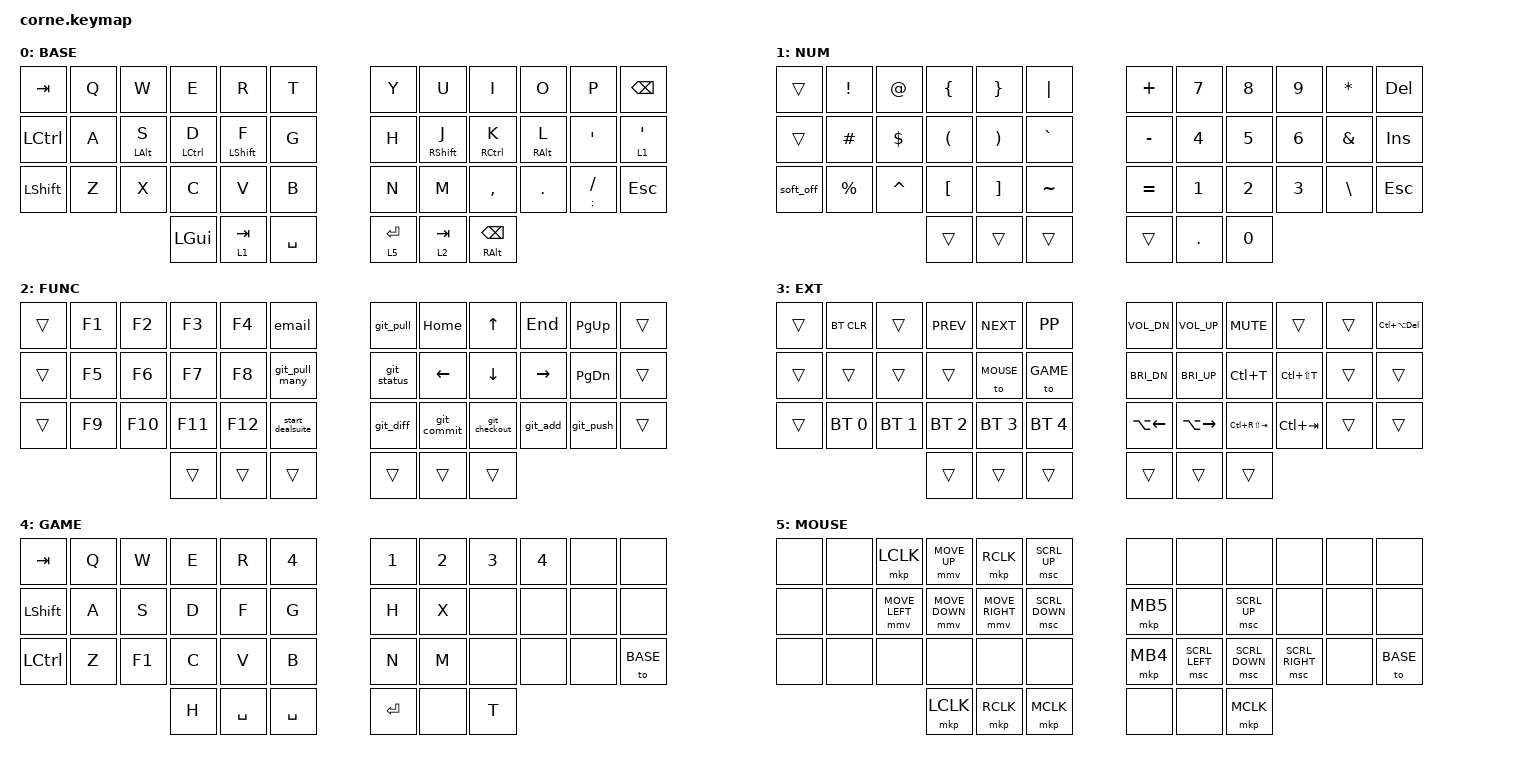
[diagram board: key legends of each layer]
/*
 * Copyright (c) 2020 The ZMK Contributors
 *
 * SPDX-License-Identifier: MIT
 */

#include <behaviors.dtsi>
#include <dt-bindings/zmk/bt.h>
#include <dt-bindings/zmk/keys.h>

#define ZMK_POINTING_DEFAULT_MOVE_VAL 1500  // default: 600
#define ZMK_POINTING_DEFAULT_SCRL_VAL 20    // default: 10

#include <dt-bindings/zmk/pointing.h>

#define BASE  0
#define NUM   1
#define FUNC  2
#define EXT   3
#define GAME  4
#define MOUSE 5

&soft_off {
    hold-time-ms = <2000>; // Only turn off it the key is held for 2 seconds or longer.
};

/ {
    behaviors {
        hm: homerow_mods {
            compatible = "zmk,behavior-hold-tap";
            bindings = <&kp>, <&kp>;

            #binding-cells = <2>;
            tapping-term-ms = <200>;
            flavor = "tap-preferred";
            require-prior-idle-ms = <125>;
            quick-tap-ms = <200>;
        };
    };

    combos {
        compatible = "zmk,combos";

        Clear_BLE_Profile {
            bindings = <&bt BT_CLR>;
            key-positions = <0 38 5>;
        };

        space {
            bindings = <&kp SPACE>;
            key-positions = <18 19>;
        };

        enter {
            bindings = <&kp ENTER>;
            key-positions = <17 16>;
        };

        return {
            bindings = <&kp RET>;
            key-positions = <21 22>;
        };

        caps {
            bindings = <&kp CAPS>;
            key-positions = <12 13>;
        };

        escape {
            bindings = <&kp ESC>;
            key-positions = <1 2>;
        };

        underline {
            bindings = <&kp UNDER>;
            key-positions = <8 7>;
        };

        dash {
            bindings = <&kp MINUS>;
            key-positions = <7 6>;
        };

        backslsh {
            bindings = <&kp BSLH>;
            key-positions = <33 34>;
        };

        reload {
            bindings = <&kp LC(R)>;
            key-positions = <4 5>;
        };

        undo {
            bindings = <&kp LC(Z)>;
            key-positions = <26 25>;
        };

        cut {
            bindings = <&kp LC(X)>;
            key-positions = <26 27>;
        };

        copy {
            bindings = <&kp LC(C)>;
            key-positions = <27 28>;
        };

        paste {
            bindings = <&kp LC(V)>;
            key-positions = <28 29>;
        };

        redo {
            bindings = <&kp LC(Y)>;
            key-positions = <24 25>;
        };

        select_all {
            bindings = <&kp LC(A)>;
            key-positions = <13 14>;
        };

        save {
            bindings = <&kp LC(S)>;
            key-positions = <14 15>;
        };

        all_caps {
            bindings = <&kp CAPS>;
            key-positions = <16 19>;
        };

        backspace {
            bindings = <&kp BACKSPACE>;
            key-positions = <9 10>;
        };
    };

    macros {
        email: email {
            compatible = "zmk,behavior-macro";
            #binding-cells = <0>;
            bindings = <&none &kp B &kp R &kp Y &kp A &kp N &kp AT &kp P &kp E &kp C &kp J &kp O &kp DOT &kp C &kp O &kp M>;
            wait-ms = <0>; 
        };

        git_status: git_status {
            compatible = "zmk,behavior-macro";
            #binding-cells = <0>;
            bindings = <&kp G &kp I &kp T &kp SPACE &kp S &kp T &kp A &kp T &kp U &kp S>;
            wait-ms = <0>; 
        };

        git_pull: git_pull {
            compatible = "zmk,behavior-macro";
            #binding-cells = <0>;
            bindings = <&kp G &kp I &kp T &kp SPACE &kp P &kp U &kp L &kp L>;
            wait-ms = <0>; 
        };

        git_pull_many: git_pull_many {
            compatible = "zmk,behavior-macro";
            #binding-cells = <0>;
            bindings = <
                &kp LC(R) &kp G &kp I &kp T &kp SPACE
                &kp MINUS &kp LEFT_SHIFT &kp C
                &kp SPACE &kp LBRC &kp RBRC &kp SPACE
                &kp P &kp U &kp L &kp L &kp SQT
            >;
            wait-ms = <0>; 
        };

        git_push: git_push {
            compatible = "zmk,behavior-macro";
            #binding-cells = <0>;
            bindings = <&kp G &kp I &kp T &kp SPACE &kp P &kp U &kp S &kp H>;
            wait-ms = <0>; 
        };

        git_add: git_add {
            compatible = "zmk,behavior-macro";
            #binding-cells = <0>;
            bindings = <&kp G &kp I &kp T &kp SPACE &kp A &kp D &kp D &kp SPACE &kp DOT>;
            wait-ms = <0>; 
        };

        git_diff: git_diff {
            compatible = "zmk,behavior-macro";
            #binding-cells = <0>;
            bindings = <&kp G &kp I &kp T &kp SPACE &kp D &kp I &kp F &kp F>;
            wait-ms = <0>; 
        };

        git_checkout: git_checkout {
            compatible = "zmk,behavior-macro";
            #binding-cells = <0>;
            bindings = <&kp G &kp I &kp T &kp SPACE &kp C &kp H &kp E &kp C &kp K &kp O &kp U &kp T &kp SPACE>;
            wait-ms = <0>; 
        };

        git_commit: git_commit {
            compatible = "zmk,behavior-macro";
            #binding-cells = <0>;
            bindings = <
                &kp G &kp I &kp T &kp SPACE &kp C &kp O &kp M &kp M &kp I &kp T &kp SPACE 
                &kp MINUS &kp M &kp SPACE &kp DOUBLE_QUOTES &kp DOUBLE_QUOTES &kp LEFT
            >;
            wait-ms = <0>; 
        };

        start_dealsuite: start_dealsuite {
            compatible = "zmk,behavior-macro";
            #binding-cells = <0>;
            bindings = <
                // CTRL+R, 'cele', Return, press 1, Return
                &kp LC(R)
                &macro_wait_time 50
                &kp C &kp E &kp L &kp E 
                &macro_wait_time 1000 
                &kp RET &kp N1 &kp RET

                // New Tab, CTRL+R, 'run d', Return
                &macro_wait_time 2000
                &kp LC(LS(N5))
                &kp LC(R)
                &macro_wait_time 50
                &kp R &kp U &kp N &kp SPACE &kp D &kp RET

                // New Tab, CTRL+R, type 'app.p', Return
                &macro_wait_time 2000
                &kp LC(LS(N5))
                &kp LC(R)
                &macro_wait_time 50
                &kp A &kp P &kp P &kp DOT &kp P &kp RET

                // New Tab, CTRL+R, 'runse', Return
                &macro_wait_time 2000
                &kp LC(LS(N5))
                &kp LC(R)
                &macro_wait_time 50
                &kp R &kp U &kp N &kp S &kp E &kp RET
            >;
        };
    };

    keymap {
        compatible = "zmk,keymap";

        base_layer {
            label = "BASE";
            //╭──────────┬──────────┬──────────┬──────────┬──────────┬──────────╮   ╭──────────┬──────────┬──────────┬──────────┬──────────┬──────────╮
            //│  TAB     |     Q  [esc]  W     │     E    │    R [reload]  T    │   │   Y    [ - ]  U   [ _ ]  I     │   O      │    P     │ BSPC     │
            //├──────────┼──────────┼──────────┼──────────┼──────────┼──────────┤   ├──────────┼──────────┼──────────┼──────────┼──────────┼──────────┤
            //│  CTRL  [CAPS]  A  [all]  S   [save]  D    │    F   [ ↵ ]   G    │   │   H   [space]  J    │    K     │   L    [ ↵ ]  ; :   │ LWR/'    │
            //├──────────┼──────────┼──────────┼──────────┼──────────┼──────────┤   ├──────────┼──────────┼──────────┼──────────┼──────────┼──────────┤
            //│  SHIFT [redo]  Z [undo]  X   [cut]   C  [copy] V  [paste]  B    │   │   N      │    M     │   , <    │  . >   [ \ ]  / ?   │ ESC      │
            //╰──────────┴──────────┴──────────┼──────────┼──────────┼──────────┤   ├──────────┼──────────┼──────────┼──────────┴──────────┴──────────╯
            //                                 │    ⊞     │  🔽/↹  │  SPACE   │   │  🖯/⏎    │   🔼/↹  │  ALT/⌫  │
            //                                 ╰──────────┴──────────┴──────────╯   ╰──────────┴──────────┴──────────╯
            bindings = <
&kp TAB   &kp Q &kp W      &kp E       &kp R       &kp T          &kp Y     &kp U       &kp I        &kp O      &kp P         &kp BSPC
&kp LCTRL &kp A &hm LALT S &hm LCTRL D &hm LSHFT F &kp G          &kp H     &hm RSHFT J &hm RCTRL K  &hm RALT L &kp SQT       &lt 1 SQT
&kp LSHFT &kp Z &kp X      &kp C       &kp V       &kp B          &kp N     &kp M       &kp COMMA    &kp DOT    &hm SEMI FSLH &kp ESC
                           &kp LGUI    &lt 1 TAB   &kp SPACE      &lt 5 RET &lt 2 TAB   &hm RALT BSPC
            >;
        };

        num_layer {
            label = "NUM";
            //╭──────────┬──────────┬──────────┬──────────┬──────────┬──────────╮   ╭──────────┬──────────┬──────────┬──────────┬──────────┬──────────╮
            //|  TAB     |  !       |  @       |  {       |  }       | "|"      |   |  +       |  7       |  8       |  9       |  *       |  Del     |
            //├──────────┼──────────┼──────────┼──────────┼──────────┼──────────┤   ├──────────┼──────────┼──────────┼──────────┼──────────┼──────────┤
            //|  SHIFT   |  #       |  $       |  (       |  )       |  `       |   |  -       |  4       |  5       |  6       |  &       |  Ins     |
            //├──────────┼──────────┼──────────┼──────────┼──────────┼──────────┤   ├──────────┼──────────┼──────────┼──────────┼──────────┼──────────┤
            //|    ⏻    |  %       |  ^       |  [       |  ]       |  ~       |   |  =       |  1       |  2       |  3       |  \       |  ESC     |
            //╰──────────┴──────────┴──────────┼──────────┼──────────┼──────────┤   ├──────────┼──────────┼──────────┼──────────┴──────────┴──────────╯
            //                                 |          |    🔴    |          │   │          │  .       |  0       |
            //                                 ╰──────────┴──────────┴──────────╯   ╰──────────┴──────────┴──────────╯
            bindings = <
&trans    &kp EXCL    &kp AT     &kp LBRC &kp RBRC &kp PIPE      &kp PLUS  &kp N7   &kp N8  &kp N9  &kp STAR  &kp DEL
&trans    &kp HASH    &kp DOLLAR &kp LPAR &kp RPAR &kp GRAVE     &kp MINUS &kp N4   &kp N5  &kp N6  &kp AMPS  &kp INS
&soft_off &kp PERCENT &kp CARET  &kp LBKT &kp RBKT &kp TILDE     &kp EQUAL &kp N1   &kp N2  &kp N3  &kp BSLH  &kp ESC
                                 &trans   &trans   &trans        &trans    &kp DOT  &kp N0
            >;
        };

        func_layer {
            label = "FUNC";
            //╭──────────┬──────────┬──────────┬──────────┬──────────┬──────────╮   ╭──────────┬──────────┬──────────┬──────────┬──────────┬──────────╮
            //|          |  F1      |  F2      |  F3      |  F4      | email    |   | g.pull   |  HOME    |  ▲       |  END     |  PG_UP   |          |
            //├──────────┼──────────┼──────────┼──────────┼──────────┼──────────┤   ├──────────┼──────────┼──────────┼──────────┼──────────┼──────────┤
            //|          |  F5      |  F6      |  F7      |  F8      | g.pull_m |   | g.status |   ◄      |  ▼       |  ►       |  PG_DN   |          |
            //├──────────┼──────────┼──────────┼──────────┼──────────┼──────────┤   ├──────────┼──────────┼──────────┼──────────┼──────────┼──────────┤
            //|          |  F9      |  F10     |  F11     |  F12     | dealsuit |   | g.diff   | g.commit | g.chkout |  g.add   |  g.push  |          |
            //╰──────────┴──────────┴──────────┼──────────┼──────────┼──────────┤   ├──────────┼──────────┼──────────┼──────────┴──────────┴──────────╯
            //                                 |          |          |          |   |          |   🔴     |          |
            //                                 ╰──────────┴──────────┴──────────╯   ╰──────────┴──────────┴──────────╯
            bindings = <
&trans  &kp F1  &kp F2   &kp F3   &kp F4   &email               &git_pull    &kp HOME     &kp UP         &kp END    &kp PG_UP      &trans
&trans  &kp F5  &kp F6   &kp F7   &kp F8   &git_pull_many       &git_status  &kp LEFT     &kp DOWN       &kp RIGHT  &kp PAGE_DOWN  &trans
&trans  &kp F9  &kp F10  &kp F11  &kp F12  &start_dealsuite     &git_diff    &git_commit  &git_checkout  &git_add   &git_push      &trans
                         &trans   &trans   &trans               &trans       &trans       &trans
            >;
        };

        extended_layer {
            label = "EXT";
            //╭──────────┬──────────┬──────────┬──────────┬──────────┬──────────╮   ╭──────────┬──────────┬──────────┬──────────┬──────────┬──────────╮
            //|          |   ᛒ🗙    |          |    ⏮    |    ⏭     |    ⏯     |   |   🔉    |    🔊    |   🔇     |          |          |    ⏻    |
            //├──────────┼──────────┼──────────┼──────────┼──────────┼──────────┤   ├──────────┼──────────┼──────────┼──────────┼──────────┼──────────┤
            //|          |          |          |          |    ⚪   |    🔵    |   |   🔅    |    🔆    |  ^ T     |  ^⇧ T    |          |          |
            //├──────────┼──────────┼──────────┼──────────┼──────────┼──────────┤   ├──────────┼──────────┼──────────┼──────────┼──────────┼──────────┤
            //|          |   ᛒ1     |   ᛒ2     |   ᛒ3     |   ᛒ4     |   ᛒ5     |   |  alt-◄   |  alt-►   |  ^ Tab   |  ^⇧ Tab  |          |          |
            //╰──────────┴──────────┴──────────┼──────────┼──────────┼──────────┤   ├──────────┼──────────┼──────────┼──────────┴──────────┴──────────╯
            //                                 |          |    🔴   |          |   |          |   ⭕     |          |
            //                                 ╰──────────┴──────────┴──────────╯   ╰──────────┴──────────┴──────────╯
            bindings = <
&trans &bt BT_CLR   &trans       &kp C_PREV   &kp C_NEXT   &kp K_PP            &kp C_VOL_DN &kp C_VOL_UP  &kp C_MUTE      &trans        &trans  &kp LC(LA(DEL))
&trans &trans       &trans       &trans       &to MOUSE    &to GAME            &kp C_BRI_DN &kp C_BRI_UP  &kp LC(T)       &kp LC(LS(T)) &trans  &trans
&trans &bt BT_SEL 0 &bt BT_SEL 1 &bt BT_SEL 2 &bt BT_SEL 3 &bt BT_SEL 4        &kp LA(LEFT) &kp LA(RIGHT) &kp LC(RS(TAB)) &kp LC(TAB)   &trans  &trans
                                 &trans       &trans       &trans              &trans       &trans        &trans
            >;
        };

        game_layer {
            label = "GAME";
            //╭──────────┬──────────┬──────────┬──────────┬──────────┬──────────╮   ╭──────────┬──────────┬──────────┬──────────┬──────────┬──────────╮
            //|  Inv     |  Tact.A  |  ▲       |  Hands   |  Reload  | Health   |   |  Gun 1   |  Gun 2   |  3       |  4       |          |          |
            //├──────────┼──────────┼──────────┼──────────┼──────────┼──────────┤   ├──────────┼──────────┼──────────┼──────────┼──────────┼──────────┤
            //|  Sprint  |  ◄       |  ▼       |  ►       |  Ping    | Grenade  |   |  H       |  X       |          |          |          |          |
            //├──────────┼──────────┼──────────┼──────────┼──────────┼──────────┤   ├──────────┼──────────┼──────────┼──────────┼──────────┼──────────┤
            //|  Crouch  |  Ulti.A  |  F1      |  Crouch  |  Melee   | FireMode |   | Look Gun |  Map     |          |          |          |    🟢    |
            //╰──────────┴──────────┴──────────┼──────────┼──────────┼──────────┤   ├──────────┼──────────┼──────────┼──────────┴──────────┴──────────╯
            //                                 |  Health  |  Jump    | Jump     │   │  ENTER   │          |  T       |
            //                                 ╰──────────┴──────────┴──────────╯   ╰──────────┴──────────┴──────────╯
            bindings = <
&kp TAB    &kp Q  &kp W   &kp E  &kp R      &kp N4       &kp N1   &kp N2  &kp N3  &kp N4  &none  &none
&kp LSHFT  &kp A  &kp S   &kp D  &kp F      &kp G        &kp H    &kp X   &none   &none   &none  &none
&kp LCTRL  &kp Z  &kp F1  &kp C  &kp V      &kp B        &kp N    &kp M   &none   &none   &none  &to BASE
                          &kp H  &kp SPACE  &kp SPACE    &kp RET  &none   &kp T
            >;
        };

        mouse_layer {
            label = "MOUSE";
            //╭──────────┬──────────┬──────────┬──────────┬──────────┬──────────╮   ╭──────────┬──────────┬──────────┬──────────┬──────────┬──────────╮
            //|          |          |  L.CLK   |  🖯 ▲    |  R.CLK   |  S ▲     |   |          |          |          |          |          |          |
            //├──────────┼──────────┼──────────┼──────────┼──────────┼──────────┤   ├──────────┼──────────┼──────────┼──────────┼──────────┼──────────┤
            //|          |          |  🖯 ◄    |  🖯 ▼    |  🖯 ►    |  S ▼     |   |   🖯 5   |          |  S ▲     |          |          |          |
            //├──────────┼──────────┼──────────┼──────────┼──────────┼──────────┤   ├──────────┼──────────┼──────────┼──────────┼──────────┼──────────┤
            //|          |          |          |          |          |          |   |   🖯 4   |  S ◄     |  S ▼     |  S ►     |          |    🟢   |
            //╰──────────┴──────────┴──────────┼──────────┼──────────┼──────────┤   ├──────────┼──────────┼──────────┼──────────┴──────────┴──────────╯
            //                                 |          |          |  L.CLK   │   │    🔴    |          |  M.CLK   |
            //                                 ╰──────────┴──────────┴──────────╯   ╰──────────┴──────────┴──────────╯
            bindings = <
&none &none &mkp LCLK      &mmv MOVE_UP   &mkp RCLK       &msc SCRL_UP          &none     &none          &none          &none           &none  &none
&none &none &mmv MOVE_LEFT &mmv MOVE_DOWN &mmv MOVE_RIGHT &msc SCRL_DOWN        &mkp MB5  &none          &msc SCRL_UP   &none           &none  &none
&none &none &none          &none          &none           &none                 &mkp MB4  &msc SCRL_LEFT &msc SCRL_DOWN &msc SCRL_RIGHT &none  &to BASE
                           &mkp LCLK      &mkp RCLK       &mkp MCLK             &none     &none          &mkp MCLK
            >;
        };
    };

    conditional_layers {
        compatible = "zmk,conditional-layers";

        Activate_EXT {
            if-layers = <NUM FUNC>;
            then-layer = <EXT>;
        };
    };
};
